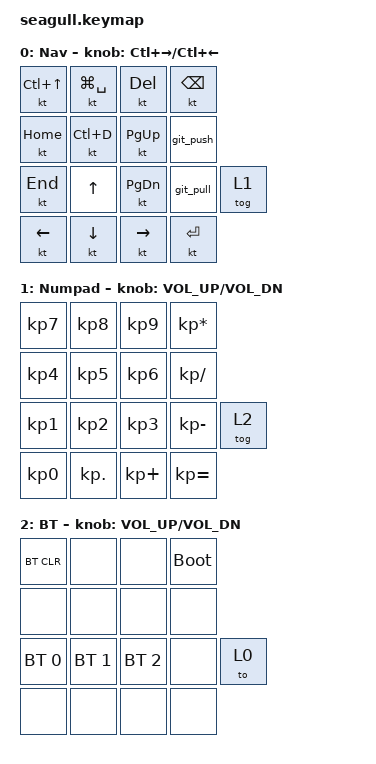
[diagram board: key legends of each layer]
#include <behaviors.dtsi>
#include <dt-bindings/zmk/bt.h>
#include <dt-bindings/zmk/keys.h>

#define NUMPAD 0
#define BLUETOOTH 1

/ {
    macros {
        git_pull: git_pull {
            compatible = "zmk,behavior-macro";
            #binding-cells = <0>;
            bindings = <&none &kp G &kp I &kp T &kp SPACE &kp P &kp U &kp L &kp L>;
            label = "GIT_PULL";
        };

        git_push: git_push {
            compatible = "zmk,behavior-macro";
            #binding-cells = <0>;
            bindings = <&none &kp G &kp I &kp T &kp SPACE &kp P &kp U &kp S &kp H>;
            label = "GIT_PUSH";
        };
    };

    keymap {
        compatible = "zmk,keymap";

        layer_nav {
            bindings = <
&kt LC(UP)  &kt LG(SPACE)  &kt DEL        &kt BACKSPACE
&kt HOME    &kt LC(D)      &kt PAGE_UP    &git_push
&kt END     &kp UP         &kt PAGE_DOWN  &git_pull      &tog 1
&kt LEFT    &kt DOWN       &kt RIGHT      &kt ENTER
            >;

            label = "Nav";
            sensor-bindings = <&inc_dec_kp LC(RIGHT_ARROW) LC(LEFT_ARROW)>;
        };

        layer_numpad {
            display-name = "Numpad";

            // +---------------------------+                      
            // |   7  |   8  |   9  |   *  |                      
            // +------+------+------+------+
            // |   4  |   5  |   6  |   /  |                      
            // +------+------+------+------+-------+     
            // |   1  |   2  |   3  |   *  | L-BT  |                     
            // +------+------+------+------+-------+    
            // |   0  |   .  |  +   |   =  |                          
            // +------+------+------+------+  

            bindings = <
&kp KP_N7  &kp KP_N8   &kp KP_N9    &kp KP_MULTIPLY
&kp KP_N4  &kp KP_N5   &kp KP_N6    &kp KP_DIVIDE
&kp KP_N1  &kp KP_N2   &kp KP_N3    &kp KP_MINUS     &tog 2
&kp KP_N0  &kp KP_DOT  &kp KP_PLUS  &kp KP_EQUAL
            >;

            sensor-bindings = <&inc_dec_kp C_VOL_UP C_VOL_DN>;
        };

        layer_bluetooth {
            display-name = "BT";

            // +---------------------------+                      
            // |CLEAR |      |      |BTLDR |                      
            // +------+------+------+------+
            // |      |      |      |      |                      
            // +------+------+------+------+-------+     
            // | PF1  | PF2  |  PF3 |      | L-BT  |                      
            // +------+------+------+------+-------+    
            // |      |      |      |      |                          
            // +------+------+------+------+     

            bindings = <
&bt BT_CLR    &none         &none         &bootloader
&none         &none         &none         &none
&bt BT_SEL 0  &bt BT_SEL 1  &bt BT_SEL 2  &none        &to 0
&none         &none         &none         &none
            >;

            sensor-bindings = <&inc_dec_kp C_VOL_UP C_VOL_DN>;
        };
    };
};
